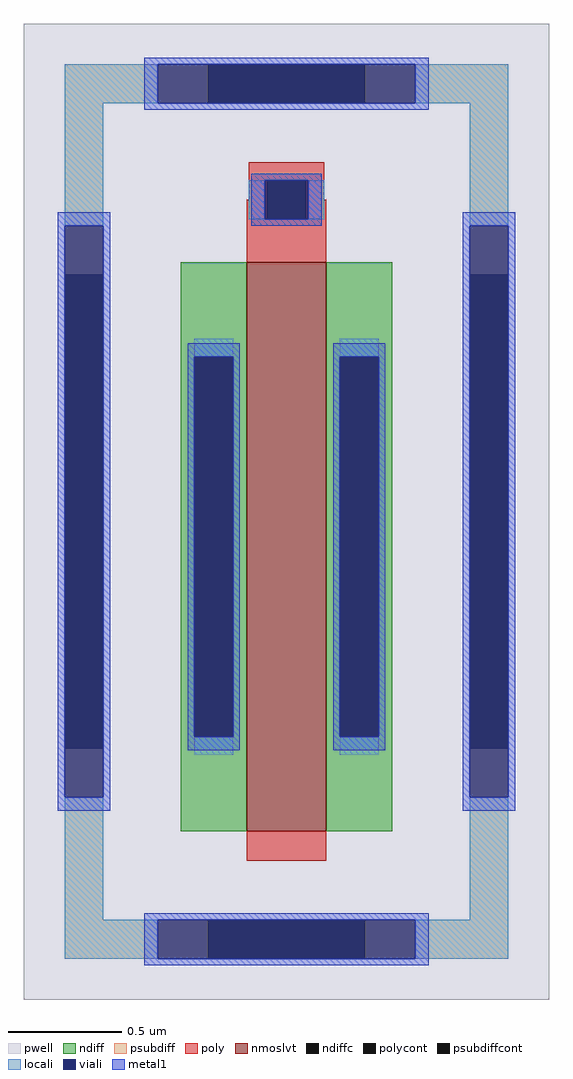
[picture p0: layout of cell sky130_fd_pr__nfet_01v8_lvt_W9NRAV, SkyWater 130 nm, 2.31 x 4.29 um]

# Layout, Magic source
magic
tech sky130A
magscale 1 2
<< pwell >>
rect -231 -429 231 429
<< nmoslvt >>
rect -35 -281 35 219
<< ndiff >>
rect -93 136 -35 219
rect -93 -198 -81 136
rect -47 -198 -35 136
rect -93 -281 -35 -198
rect 35 136 93 219
rect 35 -198 47 136
rect 81 -198 93 136
rect 35 -281 93 -198
<< ndiffc >>
rect -81 -198 -47 136
rect 47 -198 81 136
<< psubdiff >>
rect -195 359 -69 393
rect 69 359 195 393
rect -195 208 -161 359
rect -195 -359 -161 -208
rect 161 208 195 359
rect 161 -359 195 -208
rect -195 -393 -69 -359
rect 69 -393 195 -359
<< psubdiffcont >>
rect -69 359 69 393
rect -195 -208 -161 208
rect 161 -208 195 208
rect -69 -393 69 -359
<< poly >>
rect -33 291 33 307
rect -33 274 -17 291
rect -35 257 -17 274
rect 17 274 33 291
rect 17 257 35 274
rect -35 219 35 257
rect -35 -307 35 -281
<< polycont >>
rect -17 257 17 291
<< locali >>
rect -195 359 -113 393
rect 113 359 195 393
rect -195 251 -161 359
rect -33 257 -19 291
rect 19 257 33 291
rect 161 251 195 359
rect -81 136 -47 152
rect -81 -214 -47 -198
rect 47 136 81 152
rect 47 -214 81 -198
rect -195 -359 -161 -251
rect 161 -359 195 -251
rect -195 -393 -113 -359
rect 113 -393 195 -359
<< viali >>
rect -113 359 -69 393
rect -69 359 69 393
rect 69 359 113 393
rect -19 257 -17 291
rect -17 257 17 291
rect 17 257 19 291
rect -195 208 -161 251
rect -195 -208 -161 208
rect 161 208 195 251
rect -195 -251 -161 -208
rect -81 -198 -47 136
rect 47 -198 81 136
rect 161 -208 195 208
rect 161 -251 195 -208
rect -113 -393 -69 -359
rect -69 -393 69 -359
rect 69 -393 113 -359
<< metal1 >>
rect -125 393 125 399
rect -125 359 -113 393
rect 113 359 125 393
rect -125 353 125 359
rect -31 291 31 297
rect -201 251 -155 263
rect -31 257 -19 291
rect 19 257 31 291
rect -31 251 31 257
rect 155 251 201 263
rect -201 -251 -195 251
rect -161 -251 -155 251
rect -87 136 -41 148
rect -87 -198 -81 136
rect -47 -198 -41 136
rect -87 -210 -41 -198
rect 41 136 87 148
rect 41 -198 47 136
rect 81 -198 87 136
rect 41 -210 87 -198
rect -201 -263 -155 -251
rect 155 -251 161 251
rect 195 -251 201 251
rect 155 -263 201 -251
rect -125 -359 125 -353
rect -125 -393 -113 -359
rect 113 -393 125 -359
rect -125 -399 125 -393
<< properties >>
string FIXED_BBOX -178 -376 178 376
string gencell sky130_fd_pr__nfet_01v8_lvt
string library sky130
string parameters w 2.5 l 0.35 m 1 nf 1 diffcov 70 polycov 70 guard 1 glc 1 grc 1 gtc 1 gbc 1 tbcov 70 rlcov 70 topc 1 botc 0 poverlap 0 doverlap 1 lmin 0.15 wmin 0.42 compatible {sky130_fd_pr__nfet_01v8 sky130_fd_pr__nfet_01v8_lvt  sky130_fd_bs_flash__special_sonosfet_star  sky130_fd_pr__nfet_g5v0d10v5 sky130_fd_pr__nfet_05v0_nvt  sky130_fd_pr__nfet_03v3_nvt} full_metal 1 viasrc 70 viadrn 70 viagate 100 viagb 70 viagr 70 viagl 70 viagt 70
<< end >>
